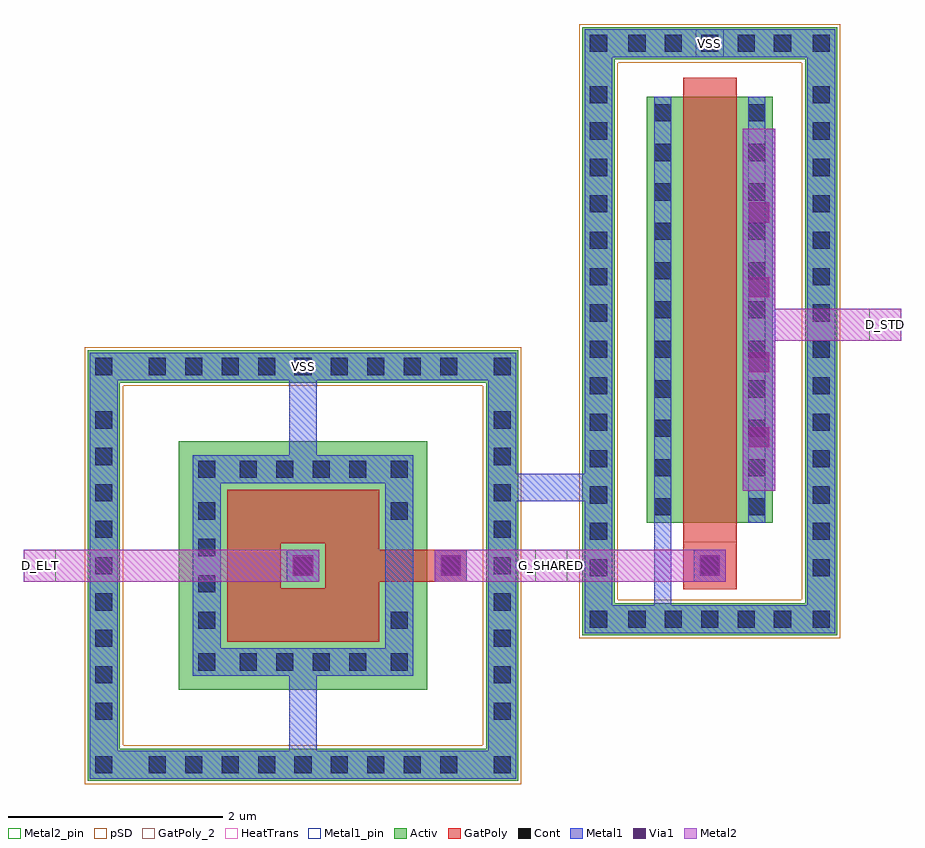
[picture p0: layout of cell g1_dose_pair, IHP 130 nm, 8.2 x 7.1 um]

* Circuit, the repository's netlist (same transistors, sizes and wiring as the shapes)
* Extracted by KLayout with SG13G2 LVS runset on : 18/09/2026 20:29

.SUBCKT g1_dose_pair D_ELT D_STD G_SHARED VSS
M$1 VSS G_SHARED D_ELT VSS sg13_lv_nmos L=0.496231155779u W=3.98u AS=3.231p
+ AD=0.1764p PS=15.26u PD=1.68u rfmode=0
M$2 VSS G_SHARED D_STD VSS sg13_lv_nmos L=0.5u W=3.98u AS=1.3532p AD=1.3532p
+ PS=8.64u PD=8.64u rfmode=0
.ENDS g1_dose_pair

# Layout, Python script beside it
#!/usr/bin/env python3
"""G1_DOSE layout: a hand-drawn enclosed-layout (annular-gate) LV NMOS next to a
standard sg13_lv_nmos PCell of the same L and matched W, shared gate.

Run inside the pinned container (KLayout 0.30.9, PDK commit 8437402):
  G1_WORKDIR=designs/g1-guardian/blocks/g1_dose/layout flow/run.sh klayout -b -r g1_dose_layout.py
Writes g1_dose.gds (top cell g1_dose_pair) and g1_elt_l130_test.gds (L = 0.13 um
ring variant, DRC feasibility only) next to this script.

ELT geometry (all um): drain = inner Activ square of side d (one contact), gate =
closed GatPoly ring of width Lg, source = outer Activ ring of width s with a
contact ring, gate contact on a poly tab that leaves the ring across the source
ring to a pad on field oxide, p+ substrate ring (Activ + pSD, contacts, Metal1)
around the device. Drain and gate leave the cell on Metal2 so the source and
substrate Metal1 rings stay closed. Standard layers only: Activ 1/0, GatPoly 5/0,
Cont 6/0, Metal1 8/0, Via1 19/0, Metal2 10/0, pSD 14/0; no nSD, no ThickGateOx,
no PWell drawn (twin-well default, same as the nmos PCell).

Rule values used (DRC deck at PDK commit 8437402): Act.b 0.21, Act.c 0.23, Gat.a
0.13, Gat.c 0.18, Gat.d 0.07, Cnt.a 0.16, Cnt.b 0.18, Cnt.c/d 0.07, Cnt.e 0.14,
Cnt.f 0.11, Cnt.g2 0.09, M1.a 0.16, M1.b 0.18, M1.c1 0.05, V1.a 0.19, V1.b 0.22,
V1.c1 0.05, M2.a 0.20, M2.b 0.21, M2.e 0.24, pSD.a 0.31, pSD.c1 0.03, pSD.d 0.18.
"""
import sys, os
K = '/foss/pdks/ihp-sg13g2/libs.tech/klayout/python'
for p in [K, K + '/pycell4klayout-api/source/python']:
    sys.path.insert(0, p)
import pya
import sg13g2_pycell_lib  # registers library SG13_dev (technology sg13g2)

HERE = os.path.dirname(os.path.abspath(__file__))
lib = pya.Library.library_by_name('SG13_dev', 'sg13g2')
LAYERS = {'Activ': (1, 0), 'GatPoly': (5, 0), 'Cont': (6, 0), 'M1': (8, 0), 'M1pin': (8, 2), 'M1txt': (8, 25),
          'M2': (10, 0), 'M2pin': (10, 2), 'M2txt': (10, 25), 'Via1': (19, 0), 'pSD': (14, 0)}
CONT, CPITCH, VIA = 0.16, 0.34, 0.19

def um(v):
    return int(round(v * 1000))

class Draw:
    def __init__(self, ly, cell):
        self.ly, self.cell = ly, cell
        self.L = {n: ly.layer(*v) for n, v in LAYERS.items()}
    def box(self, layer, x1, y1, x2, y2):
        self.cell.shapes(self.L[layer]).insert(pya.Box(um(x1), um(y1), um(x2), um(y2)))
    def square(self, layer, cx, cy, size):
        self.box(layer, cx - size / 2, cy - size / 2, cx + size / 2, cy + size / 2)
    def ring(self, layer, x1, y1, x2, y2, w):
        """closed ring between the inner box (x1,y1,x2,y2) and the box grown by w"""
        outer = pya.Polygon(pya.Box(um(x1 - w), um(y1 - w), um(x2 + w), um(y2 + w)))
        outer.insert_hole(pya.Box(um(x1), um(y1), um(x2), um(y2)))
        self.cell.shapes(self.L[layer]).insert(outer)
    def label(self, layer, x, y, text):
        t = pya.Text(text, pya.Trans(pya.Point(um(x), um(y))))
        t.size = um(0.2)
        self.cell.shapes(self.L[layer]).insert(t)
    def cont_line(self, p1, p2, fixed, vertical, skip=lambda c: False):
        """contacts at pitch CPITCH along a line between p1 and p2 (centre coordinates)"""
        n = int(round((p2 - p1) / CPITCH)) + 1
        for i in range(n):
            c = p1 + i * CPITCH
            if skip(c):
                continue
            if vertical:
                self.square('Cont', fixed, c, CONT)
            else:
                self.square('Cont', c, fixed, CONT)
    def guard_ring(self, x1, y1, x2, y2, w=0.30):
        """p+ substrate ring: Activ ring of width w just outside the box, pSD 0.03 beyond, contacts, Metal1 ring"""
        self.ring('Activ', x1, y1, x2, y2, w)
        self.ring('pSD', x1 + 0.03, y1 + 0.03, x2 - 0.03, y2 - 0.03, w + 0.06)
        c = w / 2  # contact centre line offset outside the box
        cx1, cx2, cy1, cy2 = x1 - c, x2 + c, y1 - c, y2 + c
        for cy in (cy1, cy2):
            self.square('Cont', cx1, cy, CONT); self.square('Cont', cx2, cy, CONT)
        def side(a, b):
            span = b - a - CPITCH  # leave room next to the corner contacts
            n = int(span // CPITCH)
            if n < 1:
                return []
            start = (a + b) / 2 - (n - 1) * CPITCH / 2
            return [start + i * CPITCH for i in range(n)]
        for x in side(cx1, cx2):
            self.square('Cont', x, cy1, CONT); self.square('Cont', x, cy2, CONT)
        for y in side(cy1, cy2):
            self.square('Cont', cx1, y, CONT); self.square('Cont', cx2, y, CONT)
        hw = CONT / 2 + 0.05
        self.ring('M1', cx1 + hw, cy1 + hw, cx2 - hw, cy2 - hw, 2 * hw)
        return (cx1, cy1, cx2, cy2)  # Metal1 ring centre lines

def elt_nmos(d, Lg, s, cx, cy, tab_w=0.30, cell=None, name_suffix=''):
    """Draw one ELT NMOS centred at (cx, cy) into `cell`. Returns geometry dict.
    d: inner (drain) Activ side; Lg: gate ring width; s: source ring width."""
    D = Draw(cell.layout(), cell)
    A = d / 2 + Lg + s                  # Activ half-side
    gi, go = d / 2, d / 2 + Lg          # gate ring inner / outer half-side
    rc = go + 0.11 + CONT / 2           # source contact centre radius (Cnt.f 0.11 from the gate)
    assert A - (rc + CONT / 2) >= 0.07, 'source Activ enclosure of contact'
    assert d >= CONT + 2 * 0.11, 'drain contact needs Cnt.f on both sides'
    # Activ square, gate ring, drain contact
    D.box('Activ', cx - A, cy - A, cx + A, cy + A)
    D.ring('GatPoly', cx - gi, cy - gi, cx + gi, cy + gi, Lg)
    D.square('Cont', cx, cy, CONT)
    # gate tab to +x: poly from the ring across the source ring to a pad on field oxide
    cont_x = A + 0.14 + CONT / 2        # Cnt.e: contact on poly 0.14 from Activ
    tab_end = cont_x + CONT / 2 + 0.07  # Cnt.d poly enclosure
    D.box('GatPoly', cx + go, cy - tab_w / 2, cx + tab_end, cy + tab_w / 2)
    D.square('Cont', cx + cont_x, cy, CONT)
    D.box('M1', cx + cont_x - 0.15, cy - 0.15, cx + cont_x + 0.15, cy + 0.15)
    D.square('Via1', cx + cont_x, cy, VIA)
    # source contact ring: corners, then sides at pitch; on the tab side keep Cnt.f 0.11 to the tab poly
    for sx in (-1, 1):
        for sy in (-1, 1):
            D.square('Cont', cx + sx * rc, cy + sy * rc, CONT)
    span = 2 * rc - CPITCH
    n = int(span // CPITCH)
    if n >= 1:
        side_pos = [-(n - 1) * CPITCH / 2 + i * CPITCH for i in range(n)]
    else:
        side_pos = []
    clear = tab_w / 2 + 0.11 + CONT / 2
    for p in side_pos:
        D.square('Cont', cx + p, cy - rc, CONT); D.square('Cont', cx + p, cy + rc, CONT)
        D.square('Cont', cx - rc, cy + p, CONT)
        if abs(p) >= clear:
            D.square('Cont', cx + rc, cy + p, CONT)
    if not any(abs(p) >= clear for p in side_pos):
        # tab side too short for the regular pitch: place two contacts just clear of the tab if they fit
        pc = clear
        if pc + CONT / 2 + 0.18 <= rc - CONT / 2:
            D.square('Cont', cx + rc, cy + pc, CONT); D.square('Cont', cx + rc, cy - pc, CONT)
    # source Metal1 ring (0.26 wide over the contact ring)
    hw = CONT / 2 + 0.05
    D.ring('M1', cx - rc + hw, cy - rc + hw, cx + rc - hw, cy + rc - hw, 2 * hw)
    # drain: Metal1 pad, Via1, Metal2 strip leaving to -x
    D.box('M1', cx - 0.15, cy - 0.15, cx + 0.15, cy + 0.15)
    D.square('Via1', cx, cy, VIA)
    # p+ substrate ring
    Gi = max(A + 0.30, tab_end + 0.18)  # M1.b: ring Metal1 0.18 from the gate-pad Metal1
    g = D.guard_ring(cx - Gi, cy - Gi, cx + Gi, cy + Gi, 0.30)
    # Metal1 bridges source ring -> substrate ring on +-y (source and body both VSS)
    D.box('M1', cx - 0.13, cy + rc - hw, cx + 0.13, g[3] + hw)
    D.box('M1', cx - 0.13, g[1] - hw, cx + 0.13, cy - rc + hw)
    Go = Gi + 0.30
    # Metal2: drain strip to -x, gate strip to +x, both 0.30 wide, past the substrate ring
    D.box('M2', cx - Go - 0.60, cy - 0.15, cx + 0.15, cy + 0.15)
    D.box('M2', cx + cont_x - 0.15, cy - 0.15, cx + Go + 0.60, cy + 0.15)
    D.label('M1txt', cx, g[3], 'VSS')
    W_ext_expected = 4 * (d + Lg)      # mean of inner and outer gate-ring perimeters (square ring)
    return dict(A=A, gi=gi, go=go, rc=rc, tab_end=tab_end, Gi=Gi, Go=Go, cont_x=cont_x,
                W_mean_perimeter=W_ext_expected, drain_exit_x=cx - Go - 0.60, gate_exit_x=cx + Go + 0.60,
                m1_ring=g)

def build_pair(d=0.42, Lg=0.50, s=0.45, w_std=3.98):
    ly = pya.Layout(); ly.dbu = 0.001
    top = ly.create_cell('g1_dose_pair')
    D = Draw(ly, top)
    e = elt_nmos(d, Lg, s, 0.0, 0.0, cell=top)
    # standard device: nmos PCell w_std x Lg, single finger, placed so that its gate pad sits on the gate strip (y = 0)
    pcv = lib.layout().add_pcell_variant(lib.layout().pcell_id('nmos'),
                                         {'w': '%gu' % w_std, 'l': '%gu' % Lg, 'ng': 1})
    std = ly.cell(ly.add_lib_cell(lib, pcv))
    ox, oy = e['Go'] + 0.60 + 0.60, 0.40   # std ring (0.30 wide + 0.30 gap) starts 0.60 right of the ELT ring
    top.insert(pya.CellInstArray(std.cell_index(), pya.Trans(pya.Point(um(ox), um(oy)))))
    # PCell geometry (w=3.7, l=0.5): Activ (0,0)-(1.18,w); GatPoly x 0.34..0.84, y -0.18..w+0.18;
    # source Metal1 strip x 0.07..0.23, drain strip x 0.95..1.11, both y 0..w
    gx1, gx2 = ox + 0.34, ox + 0.84
    # gate contact pad below the PCell poly end cap
    D.box('GatPoly', gx1, oy - 0.62, gx2, oy - 0.18)
    D.square('Cont', ox + 0.59, oy - 0.40, CONT)
    D.box('M1', ox + 0.44, oy - 0.55, ox + 0.74, oy - 0.25)
    D.square('Via1', ox + 0.59, oy - 0.40, VIA)
    # shared gate on Metal2: ELT gate strip already ends at e['gate_exit_x']; continue it to the std gate pad
    D.box('M2', e['gate_exit_x'] - 0.30, -0.15, ox + 0.74, 0.15)
    # std drain: wider Metal1 over the PCell drain strip, Via1 column, Metal2 strip leaving to +x
    D.box('M1', ox + 0.90, oy + 0.30, ox + 1.20, oy + w_std - 0.30)
    for vy in (0.8, 1.5, 2.2, 2.9):
        D.square('Via1', ox + 1.05, oy + vy, VIA)
    D.box('M2', ox + 0.90, oy + 0.30, ox + 1.20, oy + w_std - 0.30)
    # std source: Metal1 strip down to the substrate ring
    ring_in = (ox - 0.30, oy - 0.75, ox + 1.48, oy + w_std + 0.35)  # pSD.j: pSD 0.30 from the gate
    g2 = D.guard_ring(*ring_in, 0.30)
    D.box('M1', ox + 0.07, g2[1], ox + 0.23, oy)
    D.box('M2', ox + 1.20, oy + 1.70, ring_in[2] + 0.30 + 0.60, oy + 2.00)
    # Metal1 bridge between the two substrate rings (one VSS net)
    D.box('M1', e['m1_ring'][2], 0.60, g2[0], 0.86)
    # terminals and labels
    D.box('M2pin', e['drain_exit_x'], -0.15, e['drain_exit_x'] + 0.30, 0.15); D.label('M2txt', e['drain_exit_x'] + 0.15, 0, 'D_ELT')
    gmid = (e['Go'] + g2[0] - 0.13) / 2
    D.box('M2pin', gmid - 0.15, -0.15, gmid + 0.15, 0.15); D.label('M2txt', gmid, 0, 'G_SHARED')
    dx = ring_in[2] + 0.30 + 0.60
    D.box('M2pin', dx - 0.30, oy + 1.70, dx, oy + 2.00); D.label('M2txt', dx - 0.15, oy + 1.85, 'D_STD')
    D.label('M1txt', ox + 0.59, g2[3], 'VSS')
    D.box('M1pin', ox + 0.46, g2[3] - 0.13, ox + 0.72, g2[3] + 0.13)
    out = os.path.join(HERE, 'g1_dose.gds')
    ly.write(out)
    print('wrote', out, 'bbox', top.dbbox())
    print('ELT: d=%.2f Lg=%.2f s=%.2f  Activ half %.2f, gate ring %.2f..%.2f, source cont radius %.2f, tab end %.2f, p+ ring inner %.2f'
          % (d, Lg, s, e['A'], e['gi'], e['go'], e['rc'], e['tab_end'], e['Gi']))
    print('ELT mean-perimeter W = 4(d+Lg) = %.3f um; std PCell w=%.2f l=%.2f ng=1' % (e['W_mean_perimeter'], w_std, Lg))

def build_l130_test(d=0.42, Lg=0.13, s=0.45):
    ly = pya.Layout(); ly.dbu = 0.001
    top = ly.create_cell('g1_elt_l130_test')
    e = elt_nmos(d, Lg, s, 0.0, 0.0, cell=top)
    D = Draw(ly, top)
    D.box('M2pin', e['drain_exit_x'], -0.15, e['drain_exit_x'] + 0.30, 0.15); D.label('M2txt', e['drain_exit_x'] + 0.15, 0, 'D_ELT')
    D.box('M2pin', e['gate_exit_x'] - 0.30, -0.15, e['gate_exit_x'], 0.15); D.label('M2txt', e['gate_exit_x'] - 0.15, 0, 'G')
    out = os.path.join(HERE, 'g1_elt_l130_test.gds')
    ly.write(out)
    print('wrote', out, 'bbox', top.dbbox(), 'mean-perimeter W = %.3f' % e['W_mean_perimeter'])

if __name__ == '__main__':
    build_pair()
    build_l130_test()
